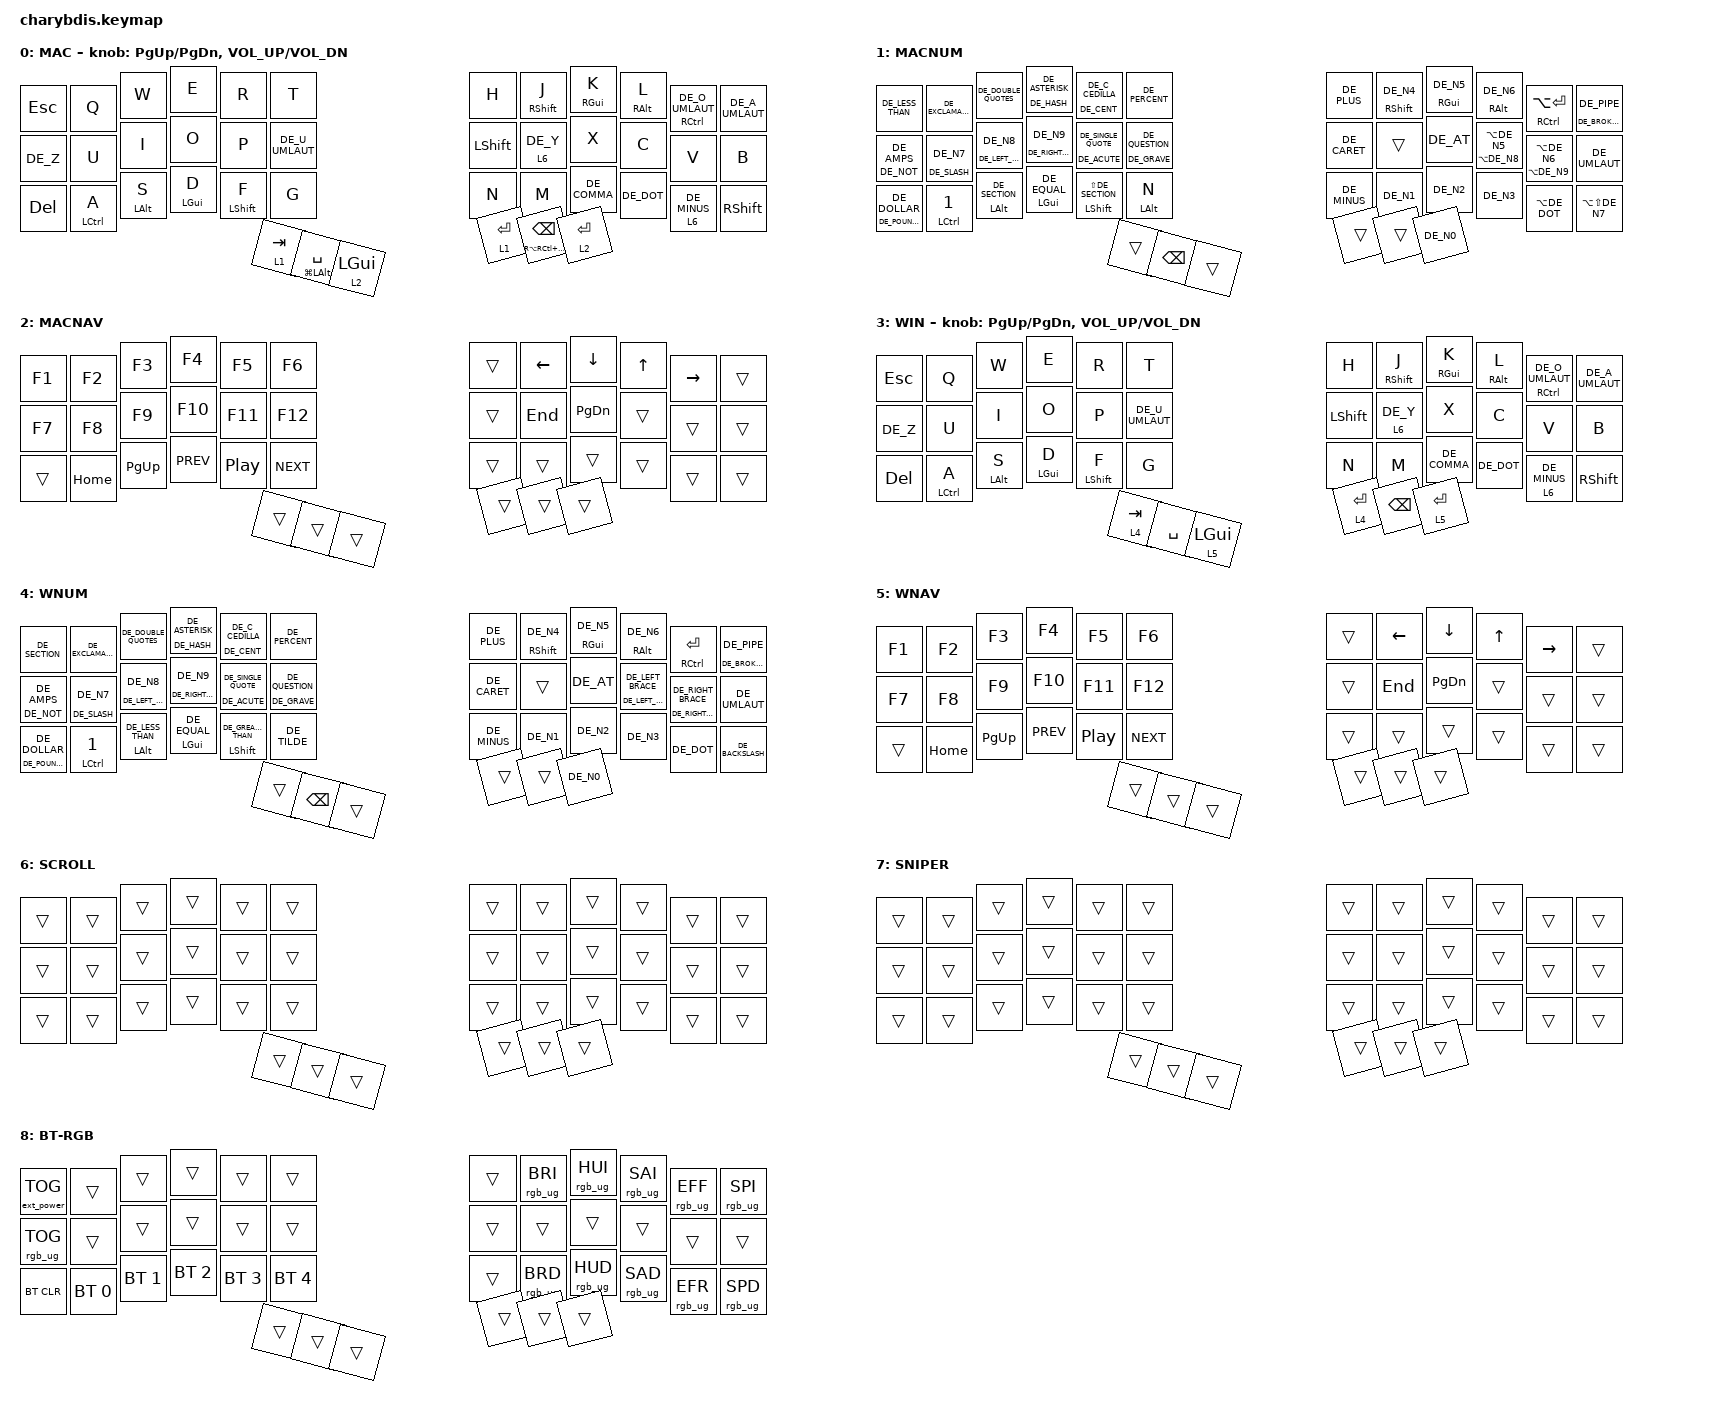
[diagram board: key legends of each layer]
#include "keys_de_swiss.h"
#include <dt-bindings/zmk/mouse.h>
#include <behaviors/mouse_keys.dtsi>
#include <behaviors.dtsi>
#include <dt-bindings/zmk/bt.h>
#include <dt-bindings/zmk/ext_power.h>
#include <dt-bindings/zmk/keys.h>
#include <dt-bindings/zmk/pointing.h>
#include <dt-bindings/zmk/rgb.h>

// / {
//     chosen { zmk,matrix_transform = &default_transform; };
// };

/ {
    /* input config for mouse move mode */

    trackball_listener {
        compatible = "zmk,input-behavior-listener";
        device = <&vtrackball>;
        layers = <0 3>;
        evt-type = <INPUT_EV_REL>;
        x-input-code = <INPUT_REL_X>;
        y-input-code = <INPUT_REL_Y>;
        scale-multiplier = <1>;
        scale-divisor = <2>;

        // bindings = <&ib_toggle_layer 7>;
    };

    /* input config for snipe mode */

    trackball_snipe_listener {
        compatible = "zmk,input-behavior-listener";
        device = <&vtrackball>;
        layers = <7>;
        evt-type = <INPUT_EV_REL>;
        x-input-code = <INPUT_REL_X>;
        y-input-code = <INPUT_REL_Y>;
        scale-multiplier = <1>;
        scale-divisor = <4>;
    };

    /* input config for mouse scroll mode */

    trackball_scroll_listener {
        compatible = "zmk,input-behavior-listener";
        device = <&vtrackball>;
        layers = <6>;
        evt-type = <INPUT_EV_REL>;
        x-input-code = <INPUT_REL_MISC>;
        y-input-code = <INPUT_REL_WHEEL>;
        y-invert;
        bindings = <&ib_wheel_scaler 1 14>;
    };

    /* define a resolution down scaler only for INPUT_REL_WHEEL */

    ib_wheel_scaler: ib_wheel_scaler {
        compatible = "zmk,input-behavior-scaler";
        #binding-cells = <2>;
        evt-type = <INPUT_EV_REL>;
        input-code = <INPUT_REL_WHEEL>;
    };

    /* adjust cooldown waiting period for mouse key layer after activated */

    ib_toggle_layer: ib_toggle_layer {
        compatible = "zmk,input-behavior-tog-layer";
        #binding-cells = <1>;
        time-to-live-ms = <750>;
    };

    // #define MAC       0
    // #define MACNUM    1
    // #define MACNAV    2
    // #define WIN       3
    // #define WNUM      4
    // #define WNAV      5
    // #define SCROLL    6
    // #define SNIPER    7
    // #define BT-RGB    8

    combos {
        compatible = "zmk,combos";

        CAPZ {
            bindings = <&kp CAPSLOCK>;
            key-positions = <12 13>;
        };

        CAPZ_WORD {
            bindings = <&caps_word>;
            key-positions = <16 19>;
        };

        to_WIN {
            bindings = <&to 3>;
            key-positions = <39 38>;
            layers = <0 8>;
        };

        to_MAC {
            bindings = <&to 0>;
            key-positions = <38 39>;
            layers = <3 8>;
        };

        to_BT_RGB {
            bindings = <&to 8>;
            key-positions = <30 29>;
        };

        left_hand_left_click {
            bindings = <&mkp LCLK>;
            key-positions = <28 27>;
        };

        left_hand_right_click {
            bindings = <&mkp RCLK>;
            key-positions = <27 26>;
        };

        left_hand_middle_click {
            bindings = <&mkp MCLK>;
            key-positions = <27 26 28>;
        };

        right_hand_left_click {
            bindings = <&mkp LCLK>;
            key-positions = <31 32>;
        };

        right_hand_right_click {
            bindings = <&mkp RCLK>;
            key-positions = <32 33>;
        };

        right_hand_middle_click {
            bindings = <&mkp MCLK>;
            key-positions = <31 32 33>;
        };
    };

    behaviors {
        hmr: hmr {
            compatible = "zmk,behavior-hold-tap";
            label = "HMR";
            bindings = <&kp>, <&kp>;

            #binding-cells = <2>;
            tapping-term-ms = <190>;
            quick-tap-ms = <175>;
            flavor = "balanced";
            hold-trigger-key-positions = <0 1 2 3 4 5 12 13 14 15 16 17 24 25 26 27 28 29 36 37 38 39 40 41>;
            hold-trigger-on-release;
        };

        hml: hml {
            compatible = "zmk,behavior-hold-tap";
            label = "HML";
            bindings = <&kp>, <&kp>;

            #binding-cells = <2>;
            tapping-term-ms = <190>;
            quick-tap-ms = <175>;
            flavor = "balanced";
            hold-trigger-key-positions = <6 7 8 9 10 11 18 19 20 21 22 23 30 31 32 33 34 35 39 40 41 36 37 38>;
            hold-trigger-on-release;
        };
    };

    keymap {
        compatible = "zmk,keymap";

        default_mac_layer {
            bindings = <
&kp ESC         &kp Q                &kp W            &kp E            &kp R                    &kp T             &kp DE_Z     &kp U                             &kp I             &kp O             &kp P                           &kp DE_U_UMLAUT
&kp DELETE      &hml LEFT_CONTROL A  &hml LEFT_ALT S  &hml LEFT_GUI D  &hml LEFT_SHIFT F        &kp G             &kp H        &hmr RIGHT_SHIFT J                &hml RIGHT_GUI K  &hml RIGHT_ALT L  &hml RIGHT_CONTROL DE_O_UMLAUT  &kp DE_A_UMLAUT
&kp LEFT_SHIFT  &lt 6 DE_Y           &kp X            &kp C            &kp V                    &kp B             &kp N        &kp M                             &kp DE_COMMA      &kp DE_DOT        &lt 6 DE_MINUS                  &kp RIGHT_SHIFT
                                                      &lt 1 TAB        &hml LG(LEFT_ALT) SPACE  &lt 2 LEFT_GUI    &lt 1 ENTER  &hmr RA(RC(RIGHT_GUI)) BACKSPACE  &lt 2 ENTER
            >;

            sensor-bindings = <&inc_dec_kp PG_UP PG_DN &inc_dec_kp C_VOL_UP C_VOL_DN>;
            label = "MAC";
        };

        mac_raise_layer {
            bindings = <
&kp DE_LESS_THAN              &kp DE_EXCLAMATION    &kp DE_DOUBLE_QUOTES      &hml DE_HASH DE_ASTERISK  &hml DE_CENT DE_C_CEDILLA       &kp DE_PERCENT     &hmr DE_NOT DE_AMPS  &hmr DE_SLASH DE_N7     &hmr DE_LEFT_PARENTHESIS DE_N8  &hmr DE_RIGHT_PARENTHESIS DE_N9  &hmr DE_ACUTE DE_SINGLE_QUOTE  &hmr DE_GRAVE DE_QUESTION
&hml DE_POUND_SIGN DE_DOLLAR  &hml LEFT_CONTROL N1  &hml LEFT_ALT DE_SECTION  &hml LEFT_GUI DE_EQUAL    &hml LEFT_SHIFT LS(DE_SECTION)  &hml LEFT_ALT N    &kp DE_PLUS          &hmr RIGHT_SHIFT DE_N4  &hmr RIGHT_GUI DE_N5            &hmr RIGHT_ALT DE_N6             &hmr RIGHT_CONTROL LA(RETURN)  &hmr DE_BROKEN_BAR DE_PIPE
&kp DE_CARET                  &trans                &kp DE_AT                 &hml LA(DE_N8) LA(DE_N5)  &hml LA(DE_N9) LA(DE_N6)        &kp DE_UMLAUT      &kp DE_MINUS         &kp DE_N1               &kp DE_N2                       &kp DE_N3                        &kp LA(DE_DOT)                 &kp LA(LS(DE_N7))
                                                                              &trans                    &kp BACKSPACE                   &trans             &trans               &trans                  &kp DE_N0
            >;

            label = "MACNUM";
        };

        mac_lower_layer {
            bindings = <
&kp F1  &kp F2    &kp F3         &kp F4      &kp F5            &kp F6        &kp F7  &kp F8          &kp F9          &kp F10       &kp F11          &kp F12
&trans  &kp HOME  &kp PAGE_UP    &kp C_PREV  &kp C_PLAY_PAUSE  &kp C_NEXT    &trans  &kp LEFT_ARROW  &kp DOWN_ARROW  &kp UP_ARROW  &kp RIGHT_ARROW  &trans
&trans  &kp END   &kp PAGE_DOWN  &trans      &trans            &trans        &trans  &trans          &trans          &trans        &trans           &trans
                                 &trans      &trans            &trans        &trans  &trans          &trans
            >;

            label = "MACNAV";
        };

        win_layer {
            label = "WIN";
            bindings = <
&kp ESC         &kp Q                &kp W            &kp E            &kp R              &kp T             &kp DE_Z     &kp U               &kp I             &kp O             &kp P                           &kp DE_U_UMLAUT
&kp DELETE      &hml LEFT_CONTROL A  &hml LEFT_ALT S  &hml LEFT_GUI D  &hml LEFT_SHIFT F  &kp G             &kp H        &hmr RIGHT_SHIFT J  &hml RIGHT_GUI K  &hml RIGHT_ALT L  &hml RIGHT_CONTROL DE_O_UMLAUT  &kp DE_A_UMLAUT
&kp LEFT_SHIFT  &lt 6 DE_Y           &kp X            &kp C            &kp V              &kp B             &kp N        &kp M               &kp DE_COMMA      &kp DE_DOT        &lt 6 DE_MINUS                  &kp RIGHT_SHIFT
                                                      &lt 4 TAB        &kp SPACE          &lt 5 LEFT_GUI    &lt 4 ENTER  &kp BACKSPACE       &lt 5 ENTER
            >;

            sensor-bindings =
                <&inc_dec_kp PG_UP PG_DN>,
                <&inc_dec_kp C_VOL_UP C_VOL_DN>;
        };

        win_raise_layer {
            label = "WNUM";
            bindings = <
&kp DE_SECTION                &kp DE_EXCLAMATION    &kp DE_DOUBLE_QUOTES        &hml DE_HASH DE_ASTERISK            &hml DE_CENT DE_C_CEDILLA             &kp DE_PERCENT    &hmr DE_NOT DE_AMPS  &hmr DE_SLASH DE_N7     &hmr DE_LEFT_PARENTHESIS DE_N8  &hmr DE_RIGHT_PARENTHESIS DE_N9  &hmr DE_ACUTE DE_SINGLE_QUOTE  &hmr DE_GRAVE DE_QUESTION
&hml DE_POUND_SIGN DE_DOLLAR  &hml LEFT_CONTROL N1  &hml LEFT_ALT DE_LESS_THAN  &hml LEFT_GUI DE_EQUAL              &hml LEFT_SHIFT DE_GREATER_THAN       &kp DE_TILDE      &kp DE_PLUS          &hmr RIGHT_SHIFT DE_N4  &hmr RIGHT_GUI DE_N5            &hmr RIGHT_ALT DE_N6             &hmr RIGHT_CONTROL ENTER       &hmr DE_BROKEN_BAR DE_PIPE
&kp DE_CARET                  &trans                &kp DE_AT                   &hml DE_LEFT_BRACKET DE_LEFT_BRACE  &hml DE_RIGHT_BRACKET DE_RIGHT_BRACE  &kp DE_UMLAUT     &kp DE_MINUS         &kp DE_N1               &kp DE_N2                       &kp DE_N3                        &kp DE_DOT                     &kp DE_BACKSLASH
                                                                                &trans                              &kp BACKSPACE                         &trans            &trans               &trans                  &kp DE_N0
            >;
        };

        win_lower_layer {
            label = "WNAV";
            bindings = <
&kp F1  &kp F2    &kp F3         &kp F4      &kp F5            &kp F6        &kp F7  &kp F8          &kp F9          &kp F10       &kp F11          &kp F12
&trans  &kp HOME  &kp PAGE_UP    &kp C_PREV  &kp C_PLAY_PAUSE  &kp C_NEXT    &trans  &kp LEFT_ARROW  &kp DOWN_ARROW  &kp UP_ARROW  &kp RIGHT_ARROW  &trans
&trans  &kp END   &kp PAGE_DOWN  &trans      &trans            &trans        &trans  &trans          &trans          &trans        &trans           &trans
                                 &trans      &trans            &trans        &trans  &trans          &trans
            >;
        };

        scroll_layer {
            bindings = <
&trans  &trans  &trans  &trans  &trans  &trans    &trans  &trans  &trans  &trans  &trans  &trans
&trans  &trans  &trans  &trans  &trans  &trans    &trans  &trans  &trans  &trans  &trans  &trans
&trans  &trans  &trans  &trans  &trans  &trans    &trans  &trans  &trans  &trans  &trans  &trans
                        &trans  &trans  &trans    &trans  &trans  &trans
            >;

            label = "SCROLL";
        };

        sniper_layer {
            bindings = <
&trans  &trans  &trans  &trans  &trans  &trans    &trans  &trans  &trans  &trans  &trans  &trans
&trans  &trans  &trans  &trans  &trans  &trans    &trans  &trans  &trans  &trans  &trans  &trans
&trans  &trans  &trans  &trans  &trans  &trans    &trans  &trans  &trans  &trans  &trans  &trans
                        &trans  &trans  &trans    &trans  &trans  &trans
            >;

            label = "SNIPER";
        };

        bt_rgb_layer {
            bindings = <
&ext_power EP_TOG  &trans        &trans        &trans        &trans        &trans          &rgb_ug RGB_TOG  &trans           &trans           &trans           &trans           &trans
&bt BT_CLR         &bt BT_SEL 0  &bt BT_SEL 1  &bt BT_SEL 2  &bt BT_SEL 3  &bt BT_SEL 4    &trans           &rgb_ug RGB_BRI  &rgb_ug RGB_HUI  &rgb_ug RGB_SAI  &rgb_ug RGB_EFF  &rgb_ug RGB_SPI
&trans             &trans        &trans        &trans        &trans        &trans          &trans           &rgb_ug RGB_BRD  &rgb_ug RGB_HUD  &rgb_ug RGB_SAD  &rgb_ug RGB_EFR  &rgb_ug RGB_SPD
                                               &trans        &trans        &trans          &trans           &trans           &trans
            >;

            label = "BT-RGB";
        };
    };
};
